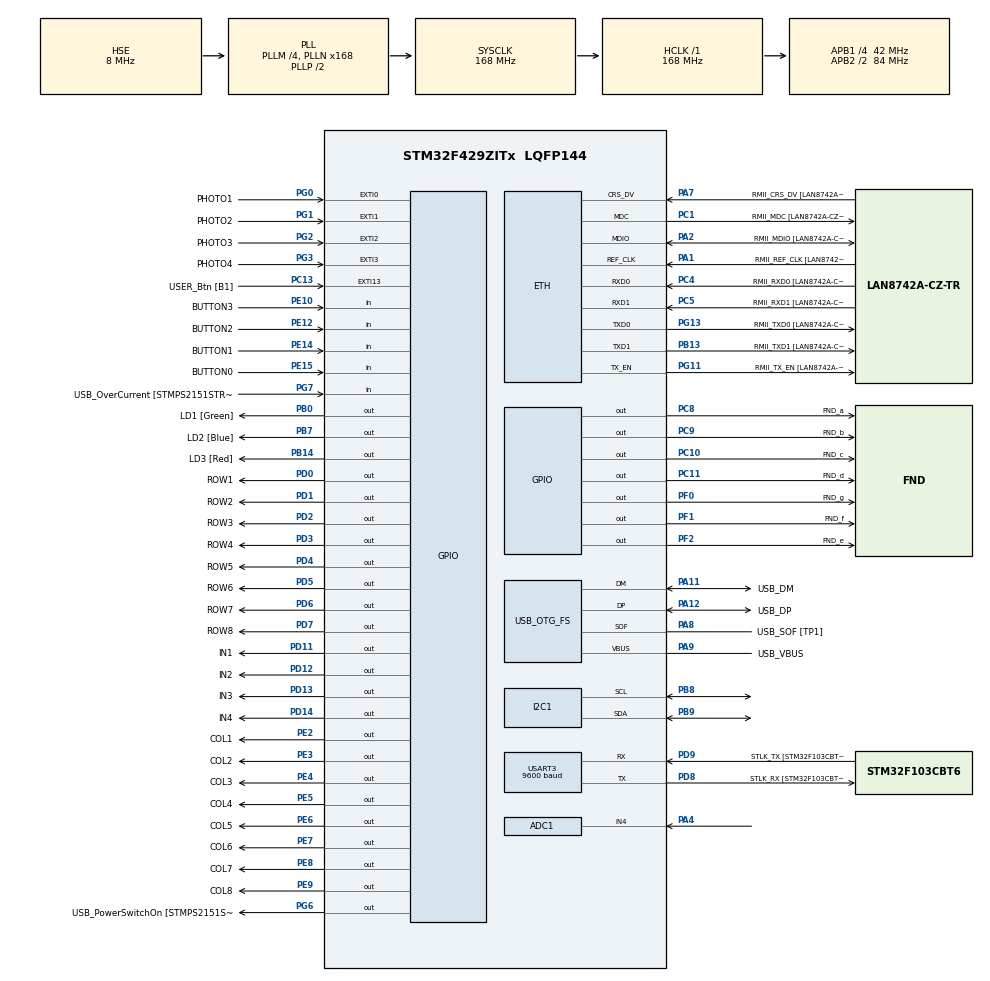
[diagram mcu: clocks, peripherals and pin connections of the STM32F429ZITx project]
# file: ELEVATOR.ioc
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ADC1.Channel-0\#ChannelRegularConversion=ADC_CHANNEL_4
ADC1.ContinuousConvMode=ENABLE
ADC1.NbrOfConversionFlag=1
ADC1.Rank-0\#ChannelRegularConversion=1
ADC1.SamplingTime-0\#ChannelRegularConversion=ADC_SAMPLETIME_480CYCLES
ADC1.master=1
ETH.MediaInterface=HAL_ETH_RMII_MODE
ETH.PHY_Name=LAN8742A_PHY_ADDRESS
ETH.PHY_Value=0
ETH.PhyAddress=0
FREERTOS.Tasks01=defaultTask,24,128,StartDefaultTask,Default,NULL,Dynamic,NULL,NULL;Task_dotmatix,8,128,Task_dotmatix_func,Default,NULL,Dynamic,NULL,NULL;Task_elevator,8,128,Task_elevator_func,Default,NULL,Dynamic,NULL,NULL
FREERTOS.configUSE_NEWLIB_REENTRANT=1
Mcu.Family=STM32F4
Mcu.Name=STM32F429ZITx
Mcu.Package=LQFP144
NVIC.ADC_IRQn=true\:5\:0\:false\:false\:true\:true\:true\:true\:true
NVIC.EXTI0_IRQn=true\:5\:0\:false\:false\:true\:true\:true\:true\:true
NVIC.EXTI1_IRQn=true\:5\:0\:false\:false\:true\:true\:true\:true\:true
NVIC.EXTI2_IRQn=true\:5\:0\:false\:false\:true\:true\:true\:true\:true
NVIC.EXTI3_IRQn=true\:5\:0\:false\:false\:true\:true\:true\:true\:true
NVIC.PriorityGroup=NVIC_PRIORITYGROUP_4
NVIC.TIM1_TRG_COM_TIM11_IRQn=true\:5\:0\:false\:false\:true\:true\:true\:true\:true
NVIC.TIM6_DAC_IRQn=true\:15\:0\:false\:false\:true\:false\:false\:true\:true
NVIC.TimeBase=TIM6_DAC_IRQn
NVIC.TimeBaseIP=TIM6
NVIC.USART3_IRQn=true\:5\:0\:false\:false\:true\:true\:true\:true\:true
PA1.GPIO_Label=RMII_REF_CLK [LAN8742A-CZ-TR_REFCLK0]
PA1.Mode=RMII
PA1.Signal=ETH_REF_CLK
PA10.GPIO_Label=USB_ID
PA10.Signal=USB_OTG_FS_ID
PA11.GPIO_Label=USB_DM
PA11.Mode=Device_Only
PA11.Signal=USB_OTG_FS_DM
PA12.GPIO_Label=USB_DP
PA12.Mode=Device_Only
PA12.Signal=USB_OTG_FS_DP
PA13.GPIO_Label=TMS
PA13.Mode=Serial_Wire
PA13.Signal=SYS_JTMS-SWDIO
PA14.GPIO_Label=TCK
PA14.Mode=Serial_Wire
PA14.Signal=SYS_JTCK-SWCLK
PA2.GPIO_Label=RMII_MDIO [LAN8742A-CZ-TR_MDIO]
PA2.Mode=RMII
PA2.Signal=ETH_MDIO
PA4.Signal=ADCx_IN4
PA7.GPIO_Label=RMII_CRS_DV [LAN8742A-CZ-TR_CRS_DV]
PA7.Mode=RMII
PA7.Signal=ETH_CRS_DV
PA8.GPIO_Label=USB_SOF [TP1]
PA8.Mode=Activate_SOF_FS
PA8.Signal=USB_OTG_FS_SOF
PA9.GPIO_Label=USB_VBUS
PA9.Mode=Activate_VBUS
PA9.Signal=USB_OTG_FS_VBUS
PB0.GPIO_Label=LD1 [Green]
PB0.Signal=GPIO_Output
PB13.GPIO_Label=RMII_TXD1 [LAN8742A-CZ-TR_TXD1]
PB13.Mode=RMII
PB13.Signal=ETH_TXD1
PB14.GPIO_Label=LD3 [Red]
PB14.Signal=GPIO_Output
PB7.GPIO_Label=LD2 [Blue]
PB7.Signal=GPIO_Output
PB8.Mode=I2C
PB8.Signal=I2C1_SCL
PB9.Mode=I2C
PB9.Signal=I2C1_SDA
PC1.GPIO_Label=RMII_MDC [LAN8742A-CZ-TR_MDC]
PC1.Mode=RMII
PC1.Signal=ETH_MDC
PC10.GPIO_Label=FND_c
PC10.Signal=GPIO_Output
PC11.GPIO_Label=FND_d
PC11.Signal=GPIO_Output
PC13.GPIO_Label=USER_Btn [B1]
PC13.Signal=GPXTI13
PC14/OSC32_IN.Mode=LSE-External-Oscillator
PC14/OSC32_IN.Signal=RCC_OSC32_IN
PC15/OSC32_OUT.Mode=LSE-External-Oscillator
PC15/OSC32_OUT.Signal=RCC_OSC32_OUT
PC4.GPIO_Label=RMII_RXD0 [LAN8742A-CZ-TR_RXD0]
PC4.Mode=RMII
PC4.Signal=ETH_RXD0
PC5.GPIO_Label=RMII_RXD1 [LAN8742A-CZ-TR_RXD1]
PC5.Mode=RMII
PC5.Signal=ETH_RXD1
PC8.GPIO_Label=FND_a
PC8.Signal=GPIO_Output
PC9.GPIO_Label=FND_b
PC9.Signal=GPIO_Output
PD0.GPIO_Label=ROW1
PD0.Signal=GPIO_Output
PD1.GPIO_Label=ROW2
PD1.Signal=GPIO_Output
PD11.GPIO_Label=IN1
PD11.Signal=GPIO_Output
PD12.GPIO_Label=IN2
PD12.Signal=GPIO_Output
PD13.GPIO_Label=IN3
PD13.Signal=GPIO_Output
PD14.GPIO_Label=IN4
PD14.Signal=GPIO_Output
PD2.GPIO_Label=ROW3
PD2.Signal=GPIO_Output
PD3.GPIO_Label=ROW4
PD3.Signal=GPIO_Output
PD4.GPIO_Label=ROW5
PD4.Signal=GPIO_Output
PD5.GPIO_Label=ROW6
PD5.Signal=GPIO_Output
PD6.GPIO_Label=ROW7
PD6.Signal=GPIO_Output
PD7.GPIO_Label=ROW8
PD7.Signal=GPIO_Output
PD8.GPIO_Label=STLK_RX [STM32F103CBT6_PA3]
PD8.Mode=Asynchronous
PD8.Signal=USART3_TX
PD9.GPIO_Label=STLK_TX [STM32F103CBT6_PA2]
PD9.Mode=Asynchronous
PD9.Signal=USART3_RX
PE10.GPIO_Label=BUTTON3
PE10.Signal=GPIO_Input
PE12.GPIO_Label=BUTTON2
PE12.Signal=GPIO_Input
PE14.GPIO_Label=BUTTON1
PE14.Signal=GPIO_Input
PE15.GPIO_Label=BUTTON0
PE15.Signal=GPIO_Input
PE2.GPIO_Label=COL1
PE2.Signal=GPIO_Output
PE3.GPIO_Label=COL2
PE3.Signal=GPIO_Output
PE4.GPIO_Label=COL3
PE4.Signal=GPIO_Output
PE5.GPIO_Label=COL4
PE5.Signal=GPIO_Output
PE6.GPIO_Label=COL5
PE6.Signal=GPIO_Output
PE7.GPIO_Label=COL6
PE7.Signal=GPIO_Output
PE8.GPIO_Label=COL7
PE8.Signal=GPIO_Output
PE9.GPIO_Label=COL8
PE9.Signal=GPIO_Output
PF0.GPIO_Label=FND_g
PF0.Signal=GPIO_Output
PF1.GPIO_Label=FND_f
PF1.Signal=GPIO_Output
PF2.GPIO_Label=FND_e
PF2.Signal=GPIO_Output
PG0.GPIO_Label=PHOTO1
PG0.Signal=GPXTI0
PG1.GPIO_Label=PHOTO2
PG1.Signal=GPXTI1
PG11.GPIO_Label=RMII_TX_EN [LAN8742A-CZ-TR_TXEN]
PG11.Mode=RMII
PG11.Signal=ETH_TX_EN
PG13.GPIO_Label=RMII_TXD0 [LAN8742A-CZ-TR_TXD0]
PG13.Mode=RMII
PG13.Signal=ETH_TXD0
PG2.GPIO_Label=PHOTO3
PG2.Signal=GPXTI2
PG3.GPIO_Label=PHOTO4
PG3.Signal=GPXTI3
PG6.GPIO_Label=USB_PowerSwitchOn [STMPS2151STR_EN]
PG6.Signal=GPIO_Output
PG7.GPIO_Label=USB_OverCurrent [STMPS2151STR_FAULT]
PG7.Signal=GPIO_Input
PH0/OSC_IN.GPIO_Label=MCO [STM32F103CBT6_PA8]
PH0/OSC_IN.Mode=HSE-External-Clock-Source
PH0/OSC_IN.Signal=RCC_OSC_IN
PH1/OSC_OUT.Mode=HSE-External-Clock-Source
PH1/OSC_OUT.Signal=RCC_OSC_OUT
ProjectManager.HeapSize=0x200
ProjectManager.StackSize=0x400
ProjectManager.TargetToolchain=STM32CubeIDE
RCC.48MHZClocksFreq_Value=48000000
RCC.AHBFreq_Value=168000000
RCC.APB1CLKDivider=RCC_HCLK_DIV4
RCC.APB1Freq_Value=42000000
RCC.APB1TimFreq_Value=84000000
RCC.APB2CLKDivider=RCC_HCLK_DIV2
RCC.APB2Freq_Value=84000000
RCC.APB2TimCLKDivider=2
RCC.APB2TimFreq_Value=168000000
RCC.CortexFreq_Value=168000000
RCC.HCLKFreq_Value=168000000
RCC.HSE_VALUE=8000000
RCC.HSI_VALUE=16000000
RCC.PLLM=4
RCC.PLLMUL=RCC_PLL_MUL9
RCC.PLLN=168
RCC.PLLQ=7
RCC.PRESCALERUSB=RCC_USBCLKSOURCE_PLL_DIV1_5
RCC.SYSCLKFreq_VALUE=168000000
RCC.SYSCLKSource=RCC_SYSCLKSOURCE_PLLCLK
RCC.SYSCLKSourceVirtual=RCC_SYSCLKSOURCE_PLLCLK
RCC.USBFreq_Value=48000000
RCC.VCOOutputFreq_Value=336000000
SH.ADCx_IN4.0=ADC1_IN4,IN4
TIM11.Period=65535
TIM11.Prescaler=168-1
USART3.BaudRate=9600
USART3.VirtualMode=VM_ASYNC
USB_OTG_FS.VirtualMode=Device_Only
VP_FREERTOS_VS_CMSIS_V2.Mode=CMSIS_V2
VP_SYS_VS_tim6.Mode=TIM6
VP_TIM11_VS_ClockSourceINT.Mode=Enable_Timer
board=NUCLEO-F429ZI

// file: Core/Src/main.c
/* USER CODE BEGIN Header */
/**
  ******************************************************************************
  * @file           : main.c
  * @brief          : Main program body
  ******************************************************************************
  * @attention
  *
  * Copyright (c) 2024 STMicroelectronics.
  * All rights reserved.
  *
  * This software is licensed under terms that can be found in the LICENSE file
  * in the root directory of this software component.
  * If no LICENSE file comes with this software, it is provided AS-IS.
  *
  ******************************************************************************
  */
/* USER CODE END Header */
#include "main.h"
#include "string.h"
#include "cmsis_os.h"

/* USER CODE BEGIN Includes */
#include "button.h"
/* USER CODE END Includes */

ETH_TxPacketConfig TxConfig;
ETH_DMADescTypeDef  DMARxDscrTab[ETH_RX_DESC_CNT]; /* Ethernet Rx DMA Descriptors */
ETH_DMADescTypeDef  DMATxDscrTab[ETH_TX_DESC_CNT]; /* Ethernet Tx DMA Descriptors */

ADC_HandleTypeDef hadc1;

ETH_HandleTypeDef heth;

I2C_HandleTypeDef hi2c1;

TIM_HandleTypeDef htim11;

UART_HandleTypeDef huart3;

PCD_HandleTypeDef hpcd_USB_OTG_FS;

/* Definitions for defaultTask */
osThreadId_t defaultTaskHandle;
const osThreadAttr_t defaultTask_attributes = {
  .name = "defaultTask",
  .stack_size = 128 * 4,
  .priority = (osPriority_t) osPriorityNormal,
};
/* Definitions for Task_dotmatix */
osThreadId_t Task_dotmatixHandle;
const osThreadAttr_t Task_dotmatix_attributes = {
  .name = "Task_dotmatix",
  .stack_size = 128 * 4,
  .priority = (osPriority_t) osPriorityLow,
};
/* Definitions for Task_elevator */
osThreadId_t Task_elevatorHandle;
const osThreadAttr_t Task_elevator_attributes = {
  .name = "Task_elevator",
  .stack_size = 128 * 4,
  .priority = (osPriority_t) osPriorityLow,
};

void SystemClock_Config(void);
static void MX_GPIO_Init(void);
static void MX_ETH_Init(void);
static void MX_USART3_UART_Init(void);
static void MX_USB_OTG_FS_PCD_Init(void);
static void MX_TIM11_Init(void);
static void MX_I2C1_Init(void);
static void MX_ADC1_Init(void);
void StartDefaultTask(void *argument);
void Task_dotmatix_func(void *argument);
void Task_elevator_func(void *argument);

/* USER CODE BEGIN PFP */
extern void stepmotor_main_test(void);
extern void step_test(void);
extern void stepmotor_driver(int direction);
extern void i2c_lcd_init(void);
extern void i2c_lcd_main(void);
extern void elevator_lcd(int *floor);
extern void fnd(int current_floor);
extern int dotmatrix_main_test();
extern void dotmatrix_stop(void);
extern void dotmatrix_up(void);
extern void dotmatix_down(void);
/* USER CODE END PFP */

/* USER CODE BEGIN 0 */
volatile int t1ms_counter = 0;	// volatile : for disable optimize
void HAL_SYSTICK_Handler(void)
{
	t1ms_counter++;	// 1ms timer
}

void delay_us(unsigned long us)
{
	__HAL_TIM_SET_COUNTER(&htim11, 0);	// tim11 clear
	while (__HAL_TIM_GET_COUNTER(&htim11) < us)
	{
	}
}
volatile int current_floor = 1;
void HAL_GPIO_EXTI_Callback(uint16_t GPIO_Pin)
{
	switch (GPIO_Pin)
	{
		case PHOTO1_Pin:
			current_floor = 1;
			break;
		case PHOTO2_Pin:
			current_floor = 2;
			break;
		case PHOTO3_Pin:
			current_floor = 3;
			break;
		case PHOTO4_Pin:
			current_floor = 4;
			break;
	}
}

uint16_t adcValue;
void HAL_ADC_ConvCpltCallback(ADC_HandleTypeDef* hadc)
{
	if (hadc->Instance == ADC1)
	{
		adcValue = HAL_ADC_GetValue(&hadc1);
		HAL_ADC_Start_IT(&hadc1);
	}
}

//----------  printf start ----------
#ifdef __GNUC__
/* With GCC, small printf (option LD Linker->Libraries->Small printf
   set to 'Yes') calls __io_putchar() */
#define PUTCHAR_PROTOTYPE int __io_putchar(int ch)
#else
#define PUTCHAR_PROTOTYPE int fputc(int ch, FILE *f)
#endif /* __GNUC_ */
/**
  * @brief  Retargets the C library printf function to the USART.
  * @param  None
  * @retval None
  */
PUTCHAR_PROTOTYPE   // Add for printf
{
  /* Place your implementation of fputc here */
  /* e.g. write a character to the USART3 and Loop until the end of transmission */
  HAL_UART_Transmit(&huart3, (uint8_t *)&ch, 1, 0xFFFF);

  return ch;
}
//----------  printf end ----------

int go_floor = 0;
int *p_go_floor = &go_floor;
int direction = 0;
int elevator_go_flag = 0;

/* USER CODE END 0 */

int main(void)
{

  /* MCU Configuration--------------------------------------------------------*/

  /* Reset of all peripherals, Initializes the Flash interface and the Systick. */
  HAL_Init();

  /* Configure the system clock */
  SystemClock_Config();

  /* Initialize all configured peripherals */
  MX_GPIO_Init();
  MX_ETH_Init();
  MX_USART3_UART_Init();
  MX_USB_OTG_FS_PCD_Init();
  MX_TIM11_Init();
  MX_I2C1_Init();
  MX_ADC1_Init();
  /* USER CODE BEGIN 2 */

  HAL_TIM_Base_Start_IT(&htim11);
  i2c_lcd_init();

  elevator_lcd(p_go_floor);
  /* USER CODE END 2 */

  /* Init scheduler */
  osKernelInitialize();

  /* Create the thread(s) */
  /* creation of defaultTask */
  defaultTaskHandle = osThreadNew(StartDefaultTask, NULL, &defaultTask_attributes);

  /* creation of Task_dotmatix */
  Task_dotmatixHandle = osThreadNew(Task_dotmatix_func, NULL, &Task_dotmatix_attributes);

  /* creation of Task_elevator */
  Task_elevatorHandle = osThreadNew(Task_elevator_func, NULL, &Task_elevator_attributes);

  /* Start scheduler */
  osKernelStart();

  /* We should never get here as control is now taken by the scheduler */
  /* Infinite loop */
  /* USER CODE BEGIN WHILE */
//  stepmotor_main_test();
//  step_test();
//  dotmatrix_main_test();
//
  while (1)
  {
	  // button control
	  if (get_button(BUTTON0_GPIO_Port, BUTTON0_Pin, 0) == BUTTON_PRESS)
	  {
		  go_floor = ++go_floor % 5;
		  elevator_lcd(p_go_floor);
	  }

	  if (get_button(BUTTON1_GPIO_Port, BUTTON1_Pin, 1) == BUTTON_PRESS)
	  {
		  elevator_go_flag = ++elevator_go_flag % 2;
		  if (current_floor < go_floor)
		  {
			  direction = 0;
		  }
		  else
		  {
			  direction = 1;
		  }
	  }

	  // step motor control
	  if (elevator_go_flag == 1)
	  {
		  stepmotor_driver(direction);

		  if (direction == 0)
		  {
			  dotmatrix_up();
		  }
		  else
		  {
			  dotmatix_down();
		  }

		  if (current_floor == go_floor)
		  {
			  elevator_go_flag = 0;
			  go_floor = 0;
		  }
	  }
	  else
	  {
		  dotmatrix_stop();
	  }
	  fnd(current_floor);
    /* USER CODE END WHILE */

  }
}

void SystemClock_Config(void)
{
  RCC_OscInitTypeDef RCC_OscInitStruct = {0};
  RCC_ClkInitTypeDef RCC_ClkInitStruct = {0};

  /** Configure the main internal regulator output voltage
  */
  __HAL_RCC_PWR_CLK_ENABLE();
  __HAL_PWR_VOLTAGESCALING_CONFIG(PWR_REGULATOR_VOLTAGE_SCALE1);

  /** Initializes the RCC Oscillators according to the specified parameters
  * in the RCC_OscInitTypeDef structure.
  */
  RCC_OscInitStruct.OscillatorType = RCC_OSCILLATORTYPE_HSE;
  RCC_OscInitStruct.HSEState = RCC_HSE_BYPASS;
  RCC_OscInitStruct.PLL.PLLState = RCC_PLL_ON;
  RCC_OscInitStruct.PLL.PLLSource = RCC_PLLSOURCE_HSE;
  RCC_OscInitStruct.PLL.PLLM = 4;
  RCC_OscInitStruct.PLL.PLLN = 168;
  RCC_OscInitStruct.PLL.PLLP = RCC_PLLP_DIV2;
  RCC_OscInitStruct.PLL.PLLQ = 7;
  if (HAL_RCC_OscConfig(&RCC_OscInitStruct) != HAL_OK)
  {
    Error_Handler();
  }

  /** Initializes the CPU, AHB and APB buses clocks
  */
  RCC_ClkInitStruct.ClockType = RCC_CLOCKTYPE_HCLK|RCC_CLOCKTYPE_SYSCLK
                              |RCC_CLOCKTYPE_PCLK1|RCC_CLOCKTYPE_PCLK2;
  RCC_ClkInitStruct.SYSCLKSource = RCC_SYSCLKSOURCE_PLLCLK;
  RCC_ClkInitStruct.AHBCLKDivider = RCC_SYSCLK_DIV1;
  RCC_ClkInitStruct.APB1CLKDivider = RCC_HCLK_DIV4;
  RCC_ClkInitStruct.APB2CLKDivider = RCC_HCLK_DIV2;

  if (HAL_RCC_ClockConfig(&RCC_ClkInitStruct, FLASH_LATENCY_5) != HAL_OK)
  {
    Error_Handler();
  }
}

static void MX_ADC1_Init(void)
{

  ADC_ChannelConfTypeDef sConfig = {0};

  /** Configure the global features of the ADC (Clock, Resolution, Data Alignment and number of conversion)
  */
  hadc1.Instance = ADC1;
  hadc1.Init.ClockPrescaler = ADC_CLOCK_SYNC_PCLK_DIV4;
  hadc1.Init.Resolution = ADC_RESOLUTION_12B;
  hadc1.Init.ScanConvMode = DISABLE;
  hadc1.Init.ContinuousConvMode = ENABLE;
  hadc1.Init.DiscontinuousConvMode = DISABLE;
  hadc1.Init.ExternalTrigConvEdge = ADC_EXTERNALTRIGCONVEDGE_NONE;
  hadc1.Init.ExternalTrigConv = ADC_SOFTWARE_START;
  hadc1.Init.DataAlign = ADC_DATAALIGN_RIGHT;
  hadc1.Init.NbrOfConversion = 1;
  hadc1.Init.DMAContinuousRequests = DISABLE;
  hadc1.Init.EOCSelection = ADC_EOC_SINGLE_CONV;
  if (HAL_ADC_Init(&hadc1) != HAL_OK)
  {
    Error_Handler();
  }

  /** Configure for the selected ADC regular channel its corresponding rank in the sequencer and its sample time.
  */
  sConfig.Channel = ADC_CHANNEL_4;
  sConfig.Rank = 1;
  sConfig.SamplingTime = ADC_SAMPLETIME_480CYCLES;
  if (HAL_ADC_ConfigChannel(&hadc1, &sConfig) != HAL_OK)
  {
    Error_Handler();
  }

}

static void MX_ETH_Init(void)
{

   static uint8_t MACAddr[6];

  heth.Instance = ETH;
  MACAddr[0] = 0x00;
  MACAddr[1] = 0x80;
  MACAddr[2] = 0xE1;
  MACAddr[3] = 0x00;
  MACAddr[4] = 0x00;
  MACAddr[5] = 0x00;
  heth.Init.MACAddr = &MACAddr[0];
  heth.Init.MediaInterface = HAL_ETH_RMII_MODE;
  heth.Init.TxDesc = DMATxDscrTab;
  heth.Init.RxDesc = DMARxDscrTab;
  heth.Init.RxBuffLen = 1524;

  if (HAL_ETH_Init(&heth) != HAL_OK)
  {
    Error_Handler();
  }

  memset(&TxConfig, 0 , sizeof(ETH_TxPacketConfig));
  TxConfig.Attributes = ETH_TX_PACKETS_FEATURES_CSUM | ETH_TX_PACKETS_FEATURES_CRCPAD;
  TxConfig.ChecksumCtrl = ETH_CHECKSUM_IPHDR_PAYLOAD_INSERT_PHDR_CALC;
  TxConfig.CRCPadCtrl = ETH_CRC_PAD_INSERT;

}

static void MX_I2C1_Init(void)
{

  hi2c1.Instance = I2C1;
  hi2c1.Init.ClockSpeed = 100000;
  hi2c1.Init.DutyCycle = I2C_DUTYCYCLE_2;
  hi2c1.Init.OwnAddress1 = 0;
  hi2c1.Init.AddressingMode = I2C_ADDRESSINGMODE_7BIT;
  hi2c1.Init.DualAddressMode = I2C_DUALADDRESS_DISABLE;
  hi2c1.Init.OwnAddress2 = 0;
  hi2c1.Init.GeneralCallMode = I2C_GENERALCALL_DISABLE;
  hi2c1.Init.NoStretchMode = I2C_NOSTRETCH_DISABLE;
  if (HAL_I2C_Init(&hi2c1) != HAL_OK)
  {
    Error_Handler();
  }

  /** Configure Analogue filter
  */
  if (HAL_I2CEx_ConfigAnalogFilter(&hi2c1, I2C_ANALOGFILTER_ENABLE) != HAL_OK)
  {
    Error_Handler();
  }

  /** Configure Digital filter
  */
  if (HAL_I2CEx_ConfigDigitalFilter(&hi2c1, 0) != HAL_OK)
  {
    Error_Handler();
  }

}

static void MX_TIM11_Init(void)
{

  htim11.Instance = TIM11;
  htim11.Init.Prescaler = 168-1;
  htim11.Init.CounterMode = TIM_COUNTERMODE_UP;
  htim11.Init.Period = 65535;
  htim11.Init.ClockDivision = TIM_CLOCKDIVISION_DIV1;
  htim11.Init.AutoReloadPreload = TIM_AUTORELOAD_PRELOAD_DISABLE;
  if (HAL_TIM_Base_Init(&htim11) != HAL_OK)
  {
    Error_Handler();
  }

}

static void MX_USART3_UART_Init(void)
{

  huart3.Instance = USART3;
  huart3.Init.BaudRate = 9600;
  huart3.Init.WordLength = UART_WORDLENGTH_8B;
  huart3.Init.StopBits = UART_STOPBITS_1;
  huart3.Init.Parity = UART_PARITY_NONE;
  huart3.Init.Mode = UART_MODE_TX_RX;
  huart3.Init.HwFlowCtl = UART_HWCONTROL_NONE;
  huart3.Init.OverSampling = UART_OVERSAMPLING_16;
  if (HAL_UART_Init(&huart3) != HAL_OK)
  {
    Error_Handler();
  }

}

static void MX_USB_OTG_FS_PCD_Init(void)
{

  hpcd_USB_OTG_FS.Instance = USB_OTG_FS;
  hpcd_USB_OTG_FS.Init.dev_endpoints = 4;
  hpcd_USB_OTG_FS.Init.speed = PCD_SPEED_FULL;
  hpcd_USB_OTG_FS.Init.dma_enable = DISABLE;
  hpcd_USB_OTG_FS.Init.phy_itface = PCD_PHY_EMBEDDED;
  hpcd_USB_OTG_FS.Init.Sof_enable = ENABLE;
  hpcd_USB_OTG_FS.Init.low_power_enable = DISABLE;
  hpcd_USB_OTG_FS.Init.lpm_enable = DISABLE;
  hpcd_USB_OTG_FS.Init.vbus_sensing_enable = ENABLE;
  hpcd_USB_OTG_FS.Init.use_dedicated_ep1 = DISABLE;
  if (HAL_PCD_Init(&hpcd_USB_OTG_FS) != HAL_OK)
  {
    Error_Handler();
  }

}

static void MX_GPIO_Init(void)
{
  GPIO_InitTypeDef GPIO_InitStruct = {0};

  /* GPIO Ports Clock Enable */
  __HAL_RCC_GPIOE_CLK_ENABLE();
  __HAL_RCC_GPIOC_CLK_ENABLE();
  __HAL_RCC_GPIOF_CLK_ENABLE();
  __HAL_RCC_GPIOH_CLK_ENABLE();
  __HAL_RCC_GPIOA_CLK_ENABLE();
  __HAL_RCC_GPIOB_CLK_ENABLE();
  __HAL_RCC_GPIOG_CLK_ENABLE();
  __HAL_RCC_GPIOD_CLK_ENABLE();

  /*Configure GPIO pin Output Level */
  HAL_GPIO_WritePin(GPIOE, COL1_Pin|COL2_Pin|COL3_Pin|COL4_Pin
                          |COL5_Pin|COL6_Pin|COL7_Pin|COL8_Pin, GPIO_PIN_RESET);

  /*Configure GPIO pin Output Level */
  HAL_GPIO_WritePin(GPIOF, FND_g_Pin|FND_f_Pin|FND_e_Pin, GPIO_PIN_RESET);

  /*Configure GPIO pin Output Level */
  HAL_GPIO_WritePin(GPIOB, LD1_Pin|LD3_Pin|LD2_Pin, GPIO_PIN_RESET);

  /*Configure GPIO pin Output Level */
  HAL_GPIO_WritePin(GPIOD, IN1_Pin|IN2_Pin|IN3_Pin|IN4_Pin
                          |ROW1_Pin|ROW2_Pin|ROW3_Pin|ROW4_Pin
                          |ROW5_Pin|ROW6_Pin|ROW7_Pin|ROW8_Pin, GPIO_PIN_RESET);

  /*Configure GPIO pin Output Level */
  HAL_GPIO_WritePin(USB_PowerSwitchOn_GPIO_Port, USB_PowerSwitchOn_Pin, GPIO_PIN_RESET);

  /*Configure GPIO pin Output Level */
  HAL_GPIO_WritePin(GPIOC, FND_a_Pin|FND_b_Pin|FND_c_Pin|FND_d_Pin, GPIO_PIN_RESET);

  /*Configure GPIO pins : COL1_Pin COL2_Pin COL3_Pin COL4_Pin
                           COL5_Pin COL6_Pin COL7_Pin COL8_Pin */
  GPIO_InitStruct.Pin = COL1_Pin|COL2_Pin|COL3_Pin|COL4_Pin
                          |COL5_Pin|COL6_Pin|COL7_Pin|COL8_Pin;
  GPIO_InitStruct.Mode = GPIO_MODE_OUTPUT_PP;
  GPIO_InitStruct.Pull = GPIO_NOPULL;
  GPIO_InitStruct.Speed = GPIO_SPEED_FREQ_LOW;
  HAL_GPIO_Init(GPIOE, &GPIO_InitStruct);

  /*Configure GPIO pin : USER_Btn_Pin */
  GPIO_InitStruct.Pin = USER_Btn_Pin;
  GPIO_InitStruct.Mode = GPIO_MODE_IT_RISING;
  GPIO_InitStruct.Pull = GPIO_NOPULL;
  HAL_GPIO_Init(USER_Btn_GPIO_Port, &GPIO_InitStruct);

  /*Configure GPIO pins : FND_g_Pin FND_f_Pin FND_e_Pin */
  GPIO_InitStruct.Pin = FND_g_Pin|FND_f_Pin|FND_e_Pin;
  GPIO_InitStruct.Mode = GPIO_MODE_OUTPUT_PP;
  GPIO_InitStruct.Pull = GPIO_NOPULL;
  GPIO_InitStruct.Speed = GPIO_SPEED_FREQ_LOW;
  HAL_GPIO_Init(GPIOF, &GPIO_InitStruct);

  /*Configure GPIO pins : LD1_Pin LD3_Pin LD2_Pin */
  GPIO_InitStruct.Pin = LD1_Pin|LD3_Pin|LD2_Pin;
  GPIO_InitStruct.Mode = GPIO_MODE_OUTPUT_PP;
  GPIO_InitStruct.Pull = GPIO_NOPULL;
  GPIO_InitStruct.Speed = GPIO_SPEED_FREQ_LOW;
  HAL_GPIO_Init(GPIOB, &GPIO_InitStruct);

  /*Configure GPIO pins : PHOTO1_Pin PHOTO2_Pin PHOTO3_Pin PHOTO4_Pin */
  GPIO_InitStruct.Pin = PHOTO1_Pin|PHOTO2_Pin|PHOTO3_Pin|PHOTO4_Pin;
  GPIO_InitStruct.Mode = GPIO_MODE_IT_RISING;
  GPIO_InitStruct.Pull = GPIO_NOPULL;
  HAL_GPIO_Init(GPIOG, &GPIO_InitStruct);

  /*Configure GPIO pins : BUTTON3_Pin BUTTON2_Pin BUTTON1_Pin BUTTON0_Pin */
  GPIO_InitStruct.Pin = BUTTON3_Pin|BUTTON2_Pin|BUTTON1_Pin|BUTTON0_Pin;
  GPIO_InitStruct.Mode = GPIO_MODE_INPUT;
  GPIO_InitStruct.Pull = GPIO_NOPULL;
  HAL_GPIO_Init(GPIOE, &GPIO_InitStruct);

  /*Configure GPIO pins : IN1_Pin IN2_Pin IN3_Pin IN4_Pin
                           ROW1_Pin ROW2_Pin ROW3_Pin ROW4_Pin
                           ROW5_Pin ROW6_Pin ROW7_Pin ROW8_Pin */
  GPIO_InitStruct.Pin = IN1_Pin|IN2_Pin|IN3_Pin|IN4_Pin
                          |ROW1_Pin|ROW2_Pin|ROW3_Pin|ROW4_Pin
                          |ROW5_Pin|ROW6_Pin|ROW7_Pin|ROW8_Pin;
  GPIO_InitStruct.Mode = GPIO_MODE_OUTPUT_PP;
  GPIO_InitStruct.Pull = GPIO_NOPULL;
  GPIO_InitStruct.Speed = GPIO_SPEED_FREQ_LOW;
  HAL_GPIO_Init(GPIOD, &GPIO_InitStruct);

  /*Configure GPIO pin : USB_PowerSwitchOn_Pin */
  GPIO_InitStruct.Pin = USB_PowerSwitchOn_Pin;
  GPIO_InitStruct.Mode = GPIO_MODE_OUTPUT_PP;
  GPIO_InitStruct.Pull = GPIO_NOPULL;
  GPIO_InitStruct.Speed = GPIO_SPEED_FREQ_LOW;
  HAL_GPIO_Init(USB_PowerSwitchOn_GPIO_Port, &GPIO_InitStruct);

  /*Configure GPIO pin : USB_OverCurrent_Pin */
  GPIO_InitStruct.Pin = USB_OverCurrent_Pin;
  GPIO_InitStruct.Mode = GPIO_MODE_INPUT;
  GPIO_InitStruct.Pull = GPIO_NOPULL;
  HAL_GPIO_Init(USB_OverCurrent_GPIO_Port, &GPIO_InitStruct);

  /*Configure GPIO pins : FND_a_Pin FND_b_Pin FND_c_Pin FND_d_Pin */
  GPIO_InitStruct.Pin = FND_a_Pin|FND_b_Pin|FND_c_Pin|FND_d_Pin;
  GPIO_InitStruct.Mode = GPIO_MODE_OUTPUT_PP;
  GPIO_InitStruct.Pull = GPIO_NOPULL;
  GPIO_InitStruct.Speed = GPIO_SPEED_FREQ_LOW;
  HAL_GPIO_Init(GPIOC, &GPIO_InitStruct);

  /* EXTI interrupt init*/
  HAL_NVIC_SetPriority(EXTI0_IRQn, 5, 0);
  HAL_NVIC_EnableIRQ(EXTI0_IRQn);

  HAL_NVIC_SetPriority(EXTI1_IRQn, 5, 0);
  HAL_NVIC_EnableIRQ(EXTI1_IRQn);

  HAL_NVIC_SetPriority(EXTI2_IRQn, 5, 0);
  HAL_NVIC_EnableIRQ(EXTI2_IRQn);

  HAL_NVIC_SetPriority(EXTI3_IRQn, 5, 0);
  HAL_NVIC_EnableIRQ(EXTI3_IRQn);

}

void StartDefaultTask(void *argument)
{
  /* USER CODE BEGIN 5 */

  /* Infinite loop */
  for(;;)
  {
	  // button control
	  if (elevator_go_flag == 0 && get_button(BUTTON0_GPIO_Port, BUTTON0_Pin, 0) == BUTTON_PRESS)
	  {
		  if (++go_floor == current_floor)
		  {
			  ++go_floor;
		  }
		  go_floor %= 5;
		  elevator_lcd(p_go_floor);
	  }

	  if (go_floor != 0 && get_button(BUTTON1_GPIO_Port, BUTTON1_Pin, 1) == BUTTON_PRESS)
	  {
		  if (current_floor < go_floor)
		  {
			  direction = 0;
		  }
		  else
		  {
			  direction = 1;
		  }
		  elevator_go_flag = 1;
	  }

	  fnd(current_floor);

    osDelay(1);
  }
  /* USER CODE END 5 */
}

void Task_dotmatix_func(void *argument)
{
  /* USER CODE BEGIN Task_dotmatix_func */
  /* Infinite loop */
  for(;;)
  {
	  // elevator move
	  if (elevator_go_flag == 1)
	  {
		  if (direction == 0)
		  {
//			  dotmatrix_main_test();
			  dotmatrix_up();
		  }
		  else
		  {
			  dotmatix_down();
		  }
	  }
	  // elevator stop
	  else
	  {
		  dotmatrix_stop();
	  }
    osDelay(1);
  }
  /* USER CODE END Task_dotmatix_func */
}

void Task_elevator_func(void *argument)
{
  /* USER CODE BEGIN Task_elevator_func */
	HAL_ADC_Start_IT(&hadc1);
  /* Infinite loop */
  for(;;)
  {
	  if (elevator_go_flag == 1)
	  {
		  stepmotor_driver(direction);

		  if (current_floor == go_floor)
		  {
			  elevator_go_flag = 0;
			  go_floor = 0;
			  elevator_lcd(p_go_floor);
		  }

		  if (adcValue < 3000)
		  {
			  if (direction == 0)
			  {
				  go_floor = current_floor + 1;
			  }
			  else
			  {
				  go_floor = current_floor - 1;
			  }
		  }
	  }
    osDelay(1);
  }
  /* USER CODE END Task_elevator_func */
}

void HAL_TIM_PeriodElapsedCallback(TIM_HandleTypeDef *htim)
{
  if (htim->Instance == TIM6) {
    HAL_IncTick();
  }
}

void Error_Handler(void)
{
  __disable_irq();
  while (1)
  {
  }
}
